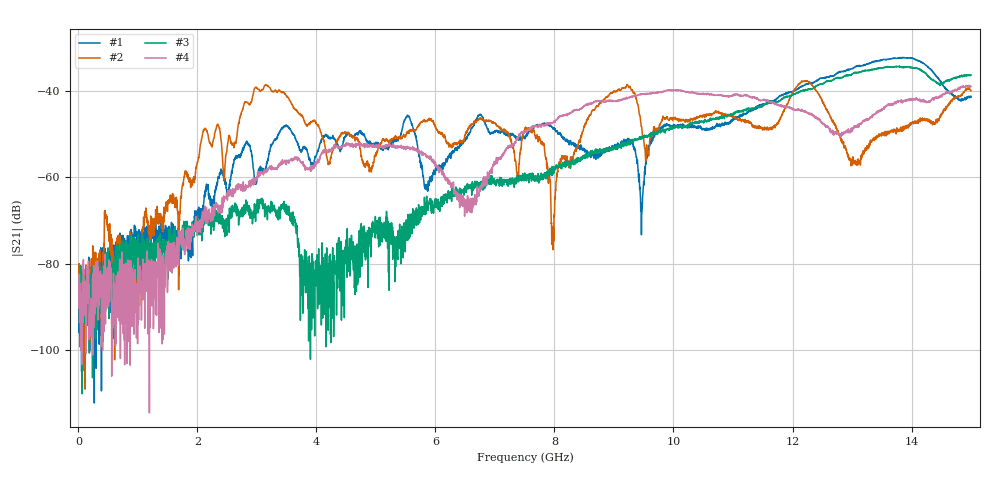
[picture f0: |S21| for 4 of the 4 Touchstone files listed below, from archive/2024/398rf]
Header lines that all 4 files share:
!	Fieldfox Controller
!	Chapman University - Class ENG398
!	Introduction to RF - DMG (2024)
!Created with skrf (http://scikit-rf.org).
# Hz S RI R 50.0
!freq ReS11 ImS11 ReS21 ImS21 ReS12 ImS12 ReS22 ImS22
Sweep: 10 MHz to 15 GHz
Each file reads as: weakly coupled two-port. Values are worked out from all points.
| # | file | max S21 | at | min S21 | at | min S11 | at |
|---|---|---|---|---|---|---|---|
| 1 | Benson_Loads.s2p | -32.28 dB | 13.85 GHz | -112.3 dB | 268.6 MHz | -54.8 dB | 10 MHz |
| 2 | Benson_OpenShort.s2p | -37.71 dB | 12.22 GHz | -109.0 dB | 114.9 MHz | -4.3 dB | 7.932 GHz |
| 3 | or_Loads.s2p | -34.31 dB | 13.8 GHz | -110.1 dB | 58.72 MHz | -23.6 dB | 5.661 GHz |
| 4 | or_OpenShort.s2p | -38.79 dB | 14.97 GHz | -114.6 dB | 1.194 GHz | -2.3 dB | 14.94 GHz |
